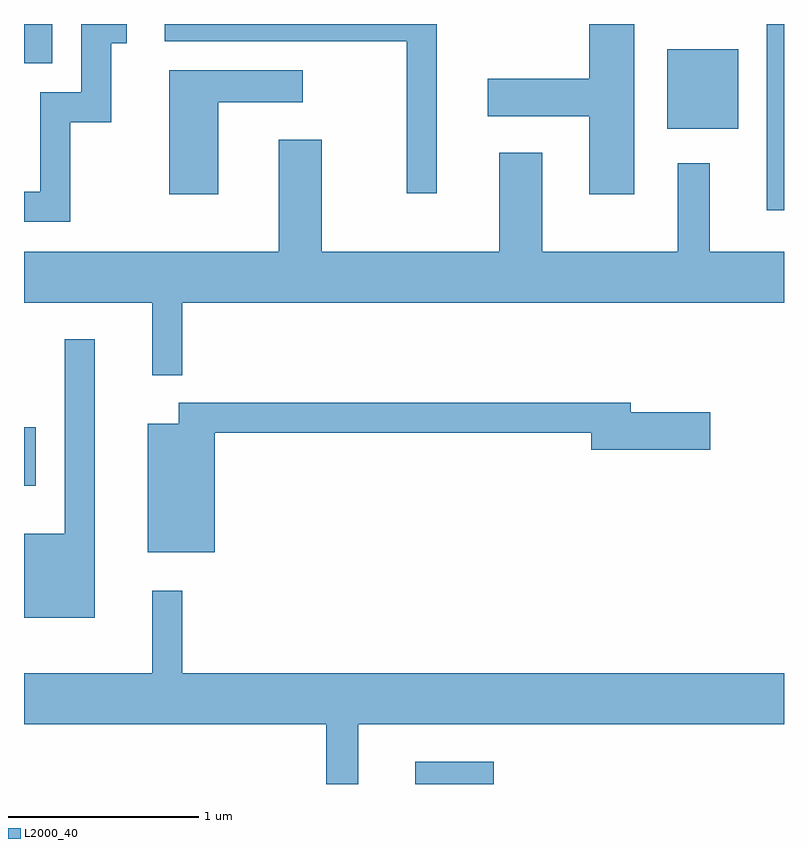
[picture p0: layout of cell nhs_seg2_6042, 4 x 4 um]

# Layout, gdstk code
import gdstk
lib = gdstk.Library(unit=1e-6, precision=1e-09)
def R(c, l, rs):  # rectangles x0, y0, x1, y1
    for r in rs: c.add(gdstk.rectangle(r[:2], r[2:], *l))
def P(c, l, *ps):  # polygons
    for p in ps: c.add(gdstk.Polygon(p, *l))
L2000_40 = (2000, 40)

nhs_seg2_6042 = lib.new_cell('nhs_seg2_6042')
R(nhs_seg2_6042, L2000_40, [(365.671,1025.802,366.084,1025.919), (363.611,1027.371,363.674,1027.679), (367.521,1028.823,367.611,1029.802), (366.996,1029.251,367.369,1029.669), (363.611,1029.596,363.759,1029.802)])
P(nhs_seg2_6042, L2000_40, [(363.854,1029.286),(364.069,1029.286),(364.069,1029.701),(364.153,1029.701),(364.153,1029.802),(363.911,1029.802),(363.911,1029.444),(363.696,1029.444),(363.696,1028.919),(363.611,1028.919),(363.611,1028.761),(363.854,1028.761)],
  [(365.784,1029.802),(364.353,1029.802),(364.353,1029.711),(365.626,1029.711),(365.626,1028.912),(365.784,1028.912)],
  [(366.824,1029.802),(366.586,1029.802),(366.586,1029.514),(366.051,1029.514),(366.051,1029.316),(366.586,1029.316),(366.586,1028.906),(366.824,1028.906)],
  [(364.634,1029.391),(365.078,1029.391),(365.078,1029.559),(364.376,1029.559),(364.376,1028.906),(364.634,1028.906)],
  [(364.444,1028.336),(367.611,1028.336),(367.611,1028.604),(367.219,1028.604),(367.219,1029.068),(367.051,1029.068),(367.051,1028.604),(366.339,1028.604),(366.339,1029.124),(366.111,1029.124),(366.111,1028.604),(365.179,1028.604),(365.179,1029.194),(364.951,1029.194),(364.951,1028.604),(363.611,1028.604),(363.611,1028.336),(364.286,1028.336),(364.286,1027.953),(364.444,1027.953)],
  [(363.984,1028.142),(363.826,1028.142),(363.826,1027.119),(363.611,1027.119),(363.611,1026.676),(363.984,1026.676)],
  [(364.614,1027.651),(366.596,1027.651),(366.596,1027.561),(367.224,1027.561),(367.224,1027.759),(366.804,1027.759),(366.804,1027.809),(364.426,1027.809),(364.426,1027.699),(364.261,1027.699),(364.261,1027.021),(364.614,1027.021)],
  [(365.369,1026.116),(367.611,1026.116),(367.611,1026.384),(364.444,1026.384),(364.444,1026.818),(364.286,1026.818),(364.286,1026.384),(363.611,1026.384),(363.611,1026.116),(365.201,1026.116),(365.201,1025.802),(365.369,1025.802)])

lib.write_gds('nhs_seg2_6042.gds')
